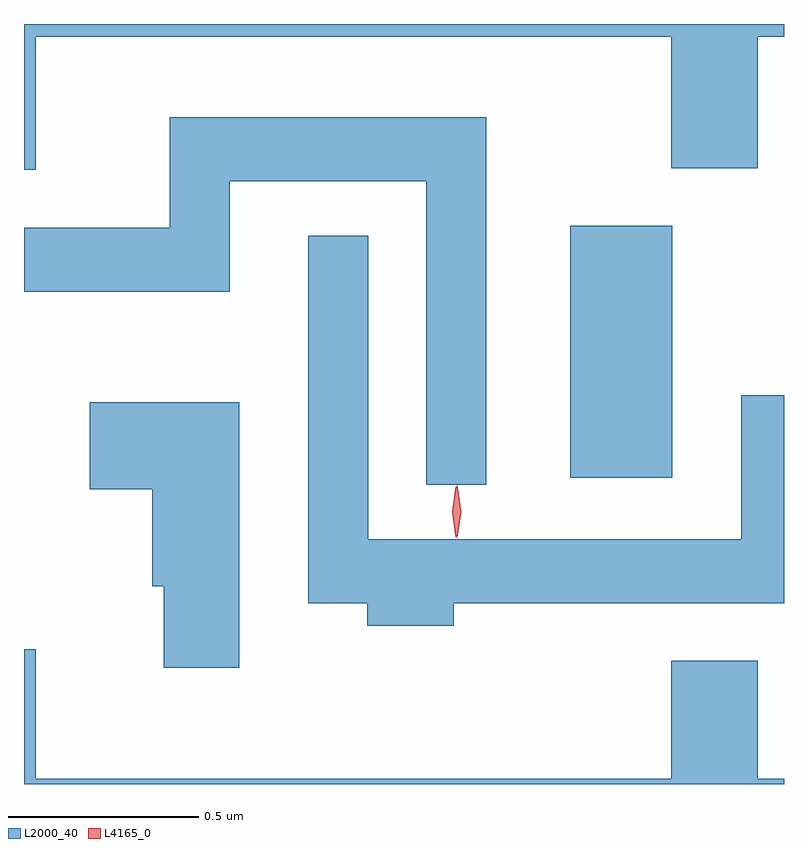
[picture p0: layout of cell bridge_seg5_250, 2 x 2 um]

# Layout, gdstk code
import gdstk
lib = gdstk.Library(unit=1e-6, precision=1e-09)
def R(c, l, rs):  # rectangles x0, y0, x1, y1
    for r in rs: c.add(gdstk.rectangle(r[:2], r[2:], *l))
def P(c, l, *ps):  # polygons
    for p in ps: c.add(gdstk.Polygon(p, *l))
L2000_40 = (2000, 40)
L4165_0 = (4165, 0)

bridge_seg5_250 = lib.new_cell('bridge_seg5_250')
R(bridge_seg5_250, L2000_40, [(1342.646,1428.996,1342.914,1429.659)])
P(bridge_seg5_250, L2000_40, [(1341.239,1430.156),(1342.911,1430.156),(1342.911,1429.811),(1343.139,1429.811),(1343.139,1430.156),(1343.208,1430.156),(1343.208,1430.19),(1341.208,1430.19),(1341.208,1429.806),(1341.239,1429.806)],
  [(1342.424,1429.944),(1341.591,1429.944),(1341.591,1429.654),(1341.208,1429.654),(1341.208,1429.486),(1341.749,1429.486),(1341.749,1429.776),(1342.266,1429.776),(1342.266,1428.978),(1342.424,1428.978)],
  [(1342.339,1428.666),(1343.208,1428.666),(1343.208,1429.213),(1343.096,1429.213),(1343.096,1428.834),(1342.114,1428.834),(1342.114,1429.633),(1341.956,1429.633),(1341.956,1428.666),(1342.111,1428.666),(1342.111,1428.606),(1342.339,1428.606)],
  [(1341.774,1429.194),(1341.381,1429.194),(1341.381,1428.966),(1341.546,1428.966),(1341.546,1428.711),(1341.576,1428.711),(1341.576,1428.496),(1341.774,1428.496)],
  [(1343.208,1428.204),(1343.139,1428.204),(1343.139,1428.514),(1342.911,1428.514),(1342.911,1428.204),(1341.239,1428.204),(1341.239,1428.544),(1341.208,1428.544),(1341.208,1428.19),(1343.208,1428.19)])
P(bridge_seg5_250, L4165_0, [(1342.348,1428.837),(1342.348,1428.838),(1342.338,1428.907),(1342.348,1428.976),(1342.348,1428.976),(1342.348,1428.976),(1342.358,1428.907),(1342.348,1428.838)],
  [(1342.345,1428.839),(1342.344,1428.84),(1342.335,1428.906),(1342.344,1428.972),(1342.345,1428.973),(1342.346,1428.972),(1342.355,1428.906),(1342.346,1428.84)])

lib.write_gds('bridge_seg5_250.gds')
